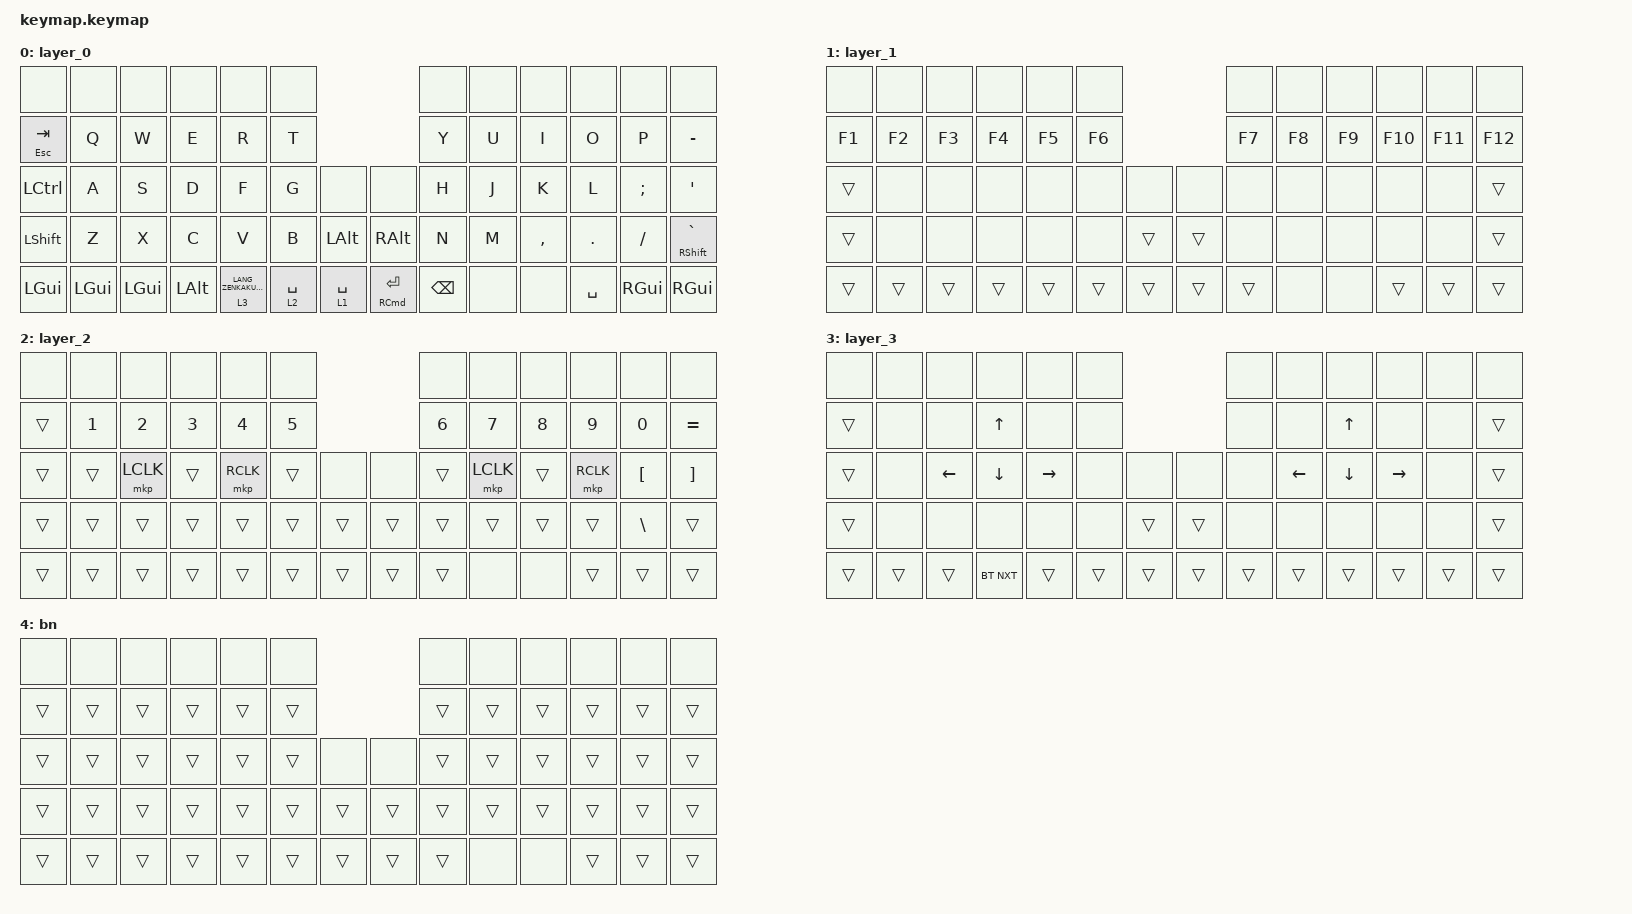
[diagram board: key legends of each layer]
#include <input/processors.dtsi>
#include <behaviors.dtsi>
#include <dt-bindings/zmk/bt.h>
#include <dt-bindings/zmk/keys.h>
#include <dt-bindings/zmk/pointing.h>

/ {
    combos {
        compatible = "zmk,combos";

        bt_clear {
            bindings = <&bt BT_CLR>;
            key-positions = <64 65 63>;
            layers = <3>;
        };
    };

    keymap {
        compatible = "zmk,keymap";

        layer_0 {
            bindings = <
&none             &none     &none     &none         &none                      &none                                              &none          &none  &none      &none      &none      &none
&mt ESC TAB       &kp Q     &kp W     &kp E         &kp R                      &kp T                                              &kp Y          &kp U  &kp I      &kp O      &kp P      &kp MINUS
&kp LEFT_CONTROL  &kp A     &kp S     &kp D         &kp F                      &kp G        &none        &none                    &kp H          &kp J  &kp K      &kp L      &kp SEMI   &kp SQT
&kp LSHFT         &kp Z     &kp X     &kp C         &kp V                      &kp B        &kp LALT     &kp RALT                 &kp N          &kp M  &kp COMMA  &kp DOT    &kp SLASH  &mt RSHFT GRAVE
&kp LGUI          &kp LGUI  &kp LGUI  &kp LEFT_ALT  &lt 3 LANG_ZENKAKUHANKAKU  &lt 2 SPACE  &lt 1 SPACE  &mt RIGHT_COMMAND ENTER  &kp BACKSPACE  &none  &none      &kp SPACE  &kp RGUI   &kp RGUI
            >;
        };

        layer_1 {
            bindings = <
&none   &none   &none   &none   &none   &none                   &none   &none   &none   &none    &none    &none
&kp F1  &kp F2  &kp F3  &kp F4  &kp F5  &kp F6                  &kp F7  &kp F8  &kp F9  &kp F10  &kp F11  &kp F12
&trans  &none   &none   &none   &none   &none   &none   &none   &none   &none   &none   &none    &none    &trans
&trans  &none   &none   &none   &none   &none   &trans  &trans  &none   &none   &none   &none    &none    &trans
&trans  &trans  &trans  &trans  &trans  &trans  &trans  &trans  &trans  &none   &none   &trans   &trans   &trans
            >;
        };

        layer_2 {
            bindings = <
&none   &none   &none      &none   &none      &none                   &none   &none      &none   &none      &none          &none
&trans  &kp N1  &kp N2     &kp N3  &kp N4     &kp N5                  &kp N6  &kp N7     &kp N8  &kp N9     &kp N0         &kp EQUAL
&trans  &trans  &mkp LCLK  &trans  &mkp RCLK  &trans  &none   &none   &trans  &mkp LCLK  &trans  &mkp RCLK  &kp LBKT       &kp RBKT
&trans  &trans  &trans     &trans  &trans     &trans  &trans  &trans  &trans  &trans     &trans  &trans     &kp BACKSLASH  &trans
&trans  &trans  &trans     &trans  &trans     &trans  &trans  &trans  &trans  &none      &none   &trans     &trans         &trans
            >;
        };

        layer_3 {
            bindings = <
&none   &none   &none     &none       &none      &none                   &none   &none     &none     &none      &none   &none
&trans  &none   &none     &kp UP      &none      &none                   &none   &none     &kp UP    &none      &none   &trans
&trans  &none   &kp LEFT  &kp DOWN    &kp RIGHT  &none   &none   &none   &none   &kp LEFT  &kp DOWN  &kp RIGHT  &none   &trans
&trans  &none   &none     &none       &none      &none   &trans  &trans  &none   &none     &none     &none      &none   &trans
&trans  &trans  &trans    &bt BT_NXT  &trans     &trans  &trans  &trans  &trans  &trans    &trans    &trans     &trans  &trans
            >;
        };

        bn {
            bindings = <
&none   &none   &none   &none   &none   &none                   &none   &none   &none   &none   &none   &none
&trans  &trans  &trans  &trans  &trans  &trans                  &trans  &trans  &trans  &trans  &trans  &trans
&trans  &trans  &trans  &trans  &trans  &trans  &none   &none   &trans  &trans  &trans  &trans  &trans  &trans
&trans  &trans  &trans  &trans  &trans  &trans  &trans  &trans  &trans  &trans  &trans  &trans  &trans  &trans
&trans  &trans  &trans  &trans  &trans  &trans  &trans  &trans  &trans  &none   &none   &trans  &trans  &trans
            >;
        };
    };
};

&pointing_listener {
    scroller {
        layers = <3>;
        input-processors = <
            &zip_xy_to_scroll_mapper
            &zip_scroll_transform INPUT_TRANSFORM_X_INVERT
            &zip_scroll_scaler 1 4
        >;
    };
};
